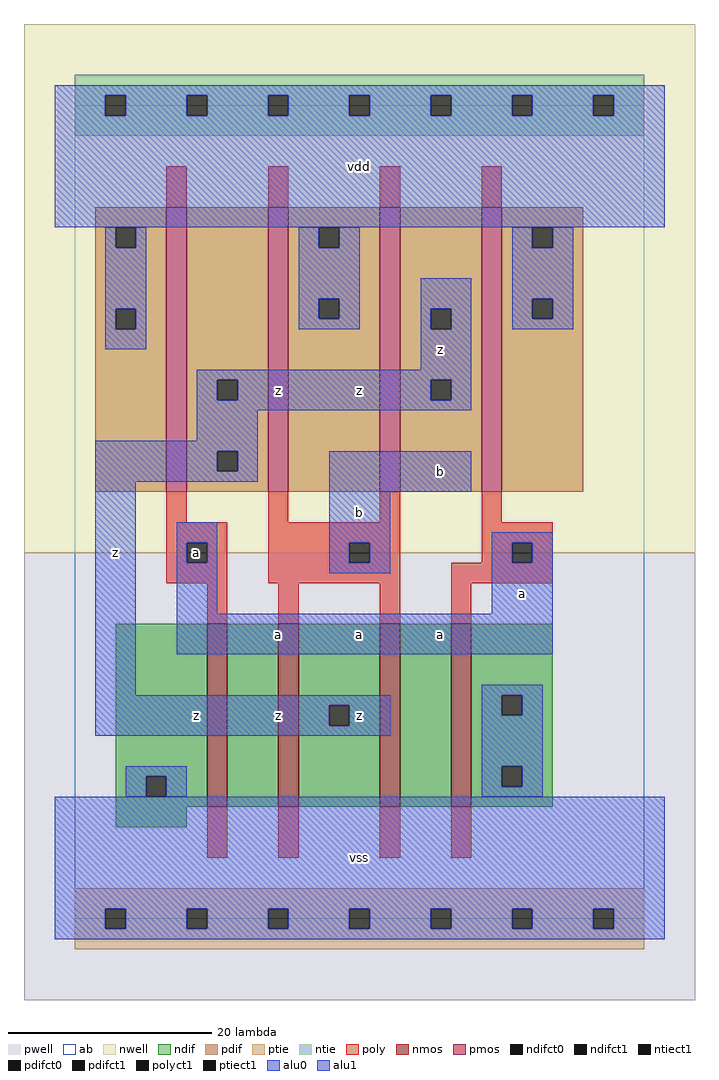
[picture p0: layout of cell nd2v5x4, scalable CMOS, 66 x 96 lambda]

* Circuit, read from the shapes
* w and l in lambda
.subckt nd2v5x4 a b vdd vss z
M1 n1 a vss vss nfet w=18 l=2
M2 z b n1 vss nfet w=18 l=2
M3 n2 b z vss nfet w=18 l=2
M4 vss a n2 vss nfet w=18 l=2
M5 z a vdd vdd pfet w=28 l=2 m=2
M6 vdd b z vdd pfet w=28 l=2 m=2
.ends

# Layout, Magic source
magic
tech scmos
<< ab >>
rect 0 0 56 80
<< nwell >>
rect -5 36 61 88
<< pwell >>
rect -5 -8 61 36
<< poly >>
rect 9 70 11 74
rect 19 70 21 74
rect 30 70 32 74
rect 40 70 42 74
rect 9 39 11 42
rect 19 39 21 42
rect 30 39 32 42
rect 9 37 15 39
rect 9 35 11 37
rect 13 35 15 37
rect 9 33 15 35
rect 19 37 32 39
rect 19 35 27 37
rect 29 35 32 37
rect 40 39 42 42
rect 40 37 47 39
rect 40 35 43 37
rect 45 35 47 37
rect 19 33 32 35
rect 13 29 15 33
rect 20 29 22 33
rect 30 29 32 33
rect 37 33 47 35
rect 37 29 39 33
rect 13 6 15 11
rect 20 6 22 11
rect 30 6 32 11
rect 37 6 39 11
<< ndif >>
rect 4 14 13 29
rect 4 12 7 14
rect 9 12 13 14
rect 4 11 13 12
rect 15 11 20 29
rect 22 21 30 29
rect 22 19 25 21
rect 27 19 30 21
rect 22 11 30 19
rect 32 11 37 29
rect 39 22 47 29
rect 39 20 42 22
rect 44 20 47 22
rect 39 15 47 20
rect 39 13 42 15
rect 44 13 47 15
rect 39 11 47 13
rect 4 9 11 11
<< pdif >>
rect 2 68 9 70
rect 2 66 4 68
rect 6 66 9 68
rect 2 60 9 66
rect 2 58 4 60
rect 6 58 9 60
rect 2 42 9 58
rect 11 53 19 70
rect 11 51 14 53
rect 16 51 19 53
rect 11 46 19 51
rect 11 44 14 46
rect 16 44 19 46
rect 11 42 19 44
rect 21 68 30 70
rect 21 66 24 68
rect 26 66 30 68
rect 21 61 30 66
rect 21 59 24 61
rect 26 59 30 61
rect 21 42 30 59
rect 32 60 40 70
rect 32 58 35 60
rect 37 58 40 60
rect 32 53 40 58
rect 32 51 35 53
rect 37 51 40 53
rect 32 42 40 51
rect 42 68 50 70
rect 42 66 45 68
rect 47 66 50 68
rect 42 61 50 66
rect 42 59 45 61
rect 47 59 50 61
rect 42 42 50 59
<< alu1 >>
rect -2 81 58 82
rect -2 79 3 81
rect 5 79 11 81
rect 13 79 19 81
rect 21 79 27 81
rect 29 79 35 81
rect 37 79 43 81
rect 45 79 51 81
rect 53 79 58 81
rect -2 68 58 79
rect 34 60 39 63
rect 34 58 35 60
rect 37 58 39 60
rect 34 54 39 58
rect 12 53 39 54
rect 12 51 14 53
rect 16 51 35 53
rect 37 51 39 53
rect 12 50 39 51
rect 12 47 18 50
rect 2 46 18 47
rect 2 44 14 46
rect 16 44 18 46
rect 2 43 18 44
rect 2 22 6 43
rect 25 42 39 46
rect 10 37 14 39
rect 10 35 11 37
rect 13 35 14 37
rect 10 30 14 35
rect 25 37 31 42
rect 25 35 27 37
rect 29 35 31 37
rect 25 34 31 35
rect 41 37 47 38
rect 41 35 43 37
rect 45 35 47 37
rect 41 30 47 35
rect 10 26 47 30
rect 2 21 31 22
rect 2 19 25 21
rect 27 19 31 21
rect 2 18 31 19
rect -2 1 58 12
rect -2 -1 3 1
rect 5 -1 11 1
rect 13 -1 19 1
rect 21 -1 27 1
rect 29 -1 35 1
rect 37 -1 43 1
rect 45 -1 51 1
rect 53 -1 58 1
rect -2 -2 58 -1
<< ptie >>
rect 0 1 56 3
rect 0 -1 3 1
rect 5 -1 11 1
rect 13 -1 19 1
rect 21 -1 27 1
rect 29 -1 35 1
rect 37 -1 43 1
rect 45 -1 51 1
rect 53 -1 56 1
rect 0 -3 56 -1
<< ntie >>
rect 0 81 56 83
rect 0 79 3 81
rect 5 79 11 81
rect 13 79 19 81
rect 21 79 27 81
rect 29 79 35 81
rect 37 79 43 81
rect 45 79 51 81
rect 53 79 56 81
rect 0 77 56 79
<< nmos >>
rect 13 11 15 29
rect 20 11 22 29
rect 30 11 32 29
rect 37 11 39 29
<< pmos >>
rect 9 42 11 70
rect 19 42 21 70
rect 30 42 32 70
rect 40 42 42 70
<< polyct1 >>
rect 11 35 13 37
rect 27 35 29 37
rect 43 35 45 37
<< ndifct0 >>
rect 7 12 9 14
rect 42 20 44 22
rect 42 13 44 15
<< ndifct1 >>
rect 25 19 27 21
<< ntiect1 >>
rect 3 79 5 81
rect 11 79 13 81
rect 19 79 21 81
rect 27 79 29 81
rect 35 79 37 81
rect 43 79 45 81
rect 51 79 53 81
<< ptiect1 >>
rect 3 -1 5 1
rect 11 -1 13 1
rect 19 -1 21 1
rect 27 -1 29 1
rect 35 -1 37 1
rect 43 -1 45 1
rect 51 -1 53 1
<< pdifct0 >>
rect 4 66 6 68
rect 4 58 6 60
rect 24 66 26 68
rect 24 59 26 61
rect 45 66 47 68
rect 45 59 47 61
<< pdifct1 >>
rect 14 51 16 53
rect 14 44 16 46
rect 35 58 37 60
rect 35 51 37 53
<< alu0 >>
rect 3 66 4 68
rect 6 66 7 68
rect 3 60 7 66
rect 3 58 4 60
rect 6 58 7 60
rect 22 66 24 68
rect 26 66 28 68
rect 22 61 28 66
rect 43 66 45 68
rect 47 66 49 68
rect 22 59 24 61
rect 26 59 28 61
rect 22 58 28 59
rect 43 61 49 66
rect 43 59 45 61
rect 47 59 49 61
rect 43 58 49 59
rect 3 56 7 58
rect 40 22 46 23
rect 40 20 42 22
rect 44 20 46 22
rect 40 15 46 20
rect 5 14 11 15
rect 5 12 7 14
rect 9 12 11 14
rect 40 13 42 15
rect 44 13 46 15
rect 40 12 46 13
<< labels >>
rlabel alu1 4 36 4 36 6 z
rlabel alu1 20 20 20 20 6 z
rlabel alu1 12 20 12 20 6 z
rlabel polyct1 12 36 12 36 6 a
rlabel alu1 20 28 20 28 6 a
rlabel alu1 20 52 20 52 6 z
rlabel alu1 28 6 28 6 6 vss
rlabel alu1 28 20 28 20 6 z
rlabel alu1 28 28 28 28 6 a
rlabel alu1 36 28 36 28 6 a
rlabel alu1 36 44 36 44 6 b
rlabel alu1 28 40 28 40 6 b
rlabel alu1 28 52 28 52 6 z
rlabel alu1 36 56 36 56 6 z
rlabel alu1 28 74 28 74 6 vdd
rlabel alu1 44 32 44 32 6 a
<< end >>
